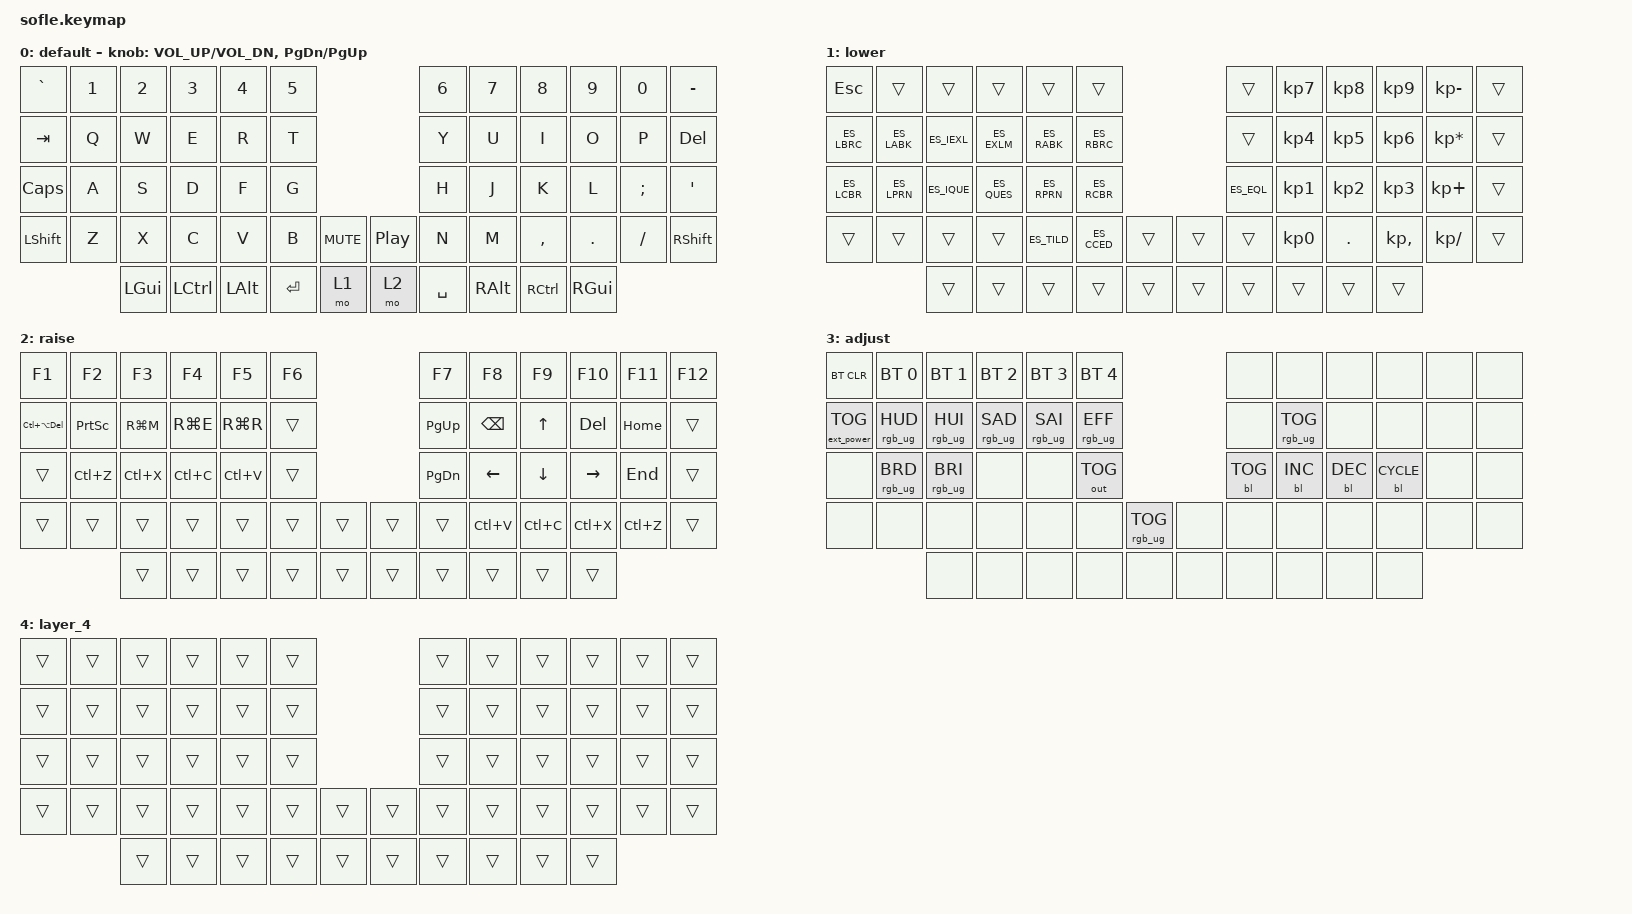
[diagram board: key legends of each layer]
/*
 * Copyright (c) 2020 The ZMK Contributors
 *
 * SPDX-License-Identifier: MIT
 */

#include "keymap_spanish.h"
#include <behaviors.dtsi>
#include <dt-bindings/zmk/backlight.h>
#include <dt-bindings/zmk/bt.h>
#include <dt-bindings/zmk/ext_power.h>
#include <dt-bindings/zmk/keys.h>
#include <dt-bindings/zmk/outputs.h>
#include <dt-bindings/zmk/rgb.h>

#define BASE 0
#define LOWER 1
#define RAISE 2
#define ADJUST 3

#include <dt-bindings/led/led.h>

&pinctrl {
    spi3_default: spi3_default {
        group1 {
            psels = <NRF_PSEL(SPIM_MOSI, 0, 6)>;
        };
    };

    spi3_sleep: spi3_sleep {
        group1 {
            psels = <NRF_PSEL(SPIM_MOSI, 0, 6)>;
            low-power-enable;
        };
    };
};

&spi3 {
  compatible = "nordic,nrf-spim";
  status = "okay";

  pinctrl-0 = <&spi3_default>;
  pinctrl-1 = <&spi3_sleep>;
  pinctrl-names = "default", "sleep";

  led_strip: ws2812@0 {
    compatible = "worldsemi,ws2812-spi";

    /* SPI */
    reg = <0>; /* ignored, but necessary for SPI bindings */
    spi-max-frequency = <4000000>;

    /* WS2812 */
    mosi-pin = <8>;
    chain-length = <30>; /* number of LEDs */
    spi-one-frame = <0x70>;
    spi-zero-frame = <0x40>;
    color-mapping = <LED_COLOR_ID_GREEN
                          LED_COLOR_ID_RED
                          LED_COLOR_ID_BLUE>;
  };
};




/ {
    // Activate ADJUST layer by pressing raise and lower

    conditional_layers {
        compatible = "zmk,conditional-layers";

        adjust_layer {
            if-layers = <1 2>;
            then-layer = <3>;
        };
    };

    combos {
        compatible = "zmk,combos";

        Ejecutar {
            bindings = <&kp RG(R)>;
            key-positions = <28 31 27 32>;
        };

        Explorer {
            bindings = <&kp RG(E)>;
            key-positions = <14 15 16>;
        };

        Imprimir-Pantalla {
            bindings = <&kp RG(LS(S))>;
            key-positions = <34 25 28 31>;
        };

        AltF4 {
            bindings = <&kp LA(F4)>;
            key-positions = <4 50>;
        };
    };

    keymap {
        compatible = "zmk,keymap";

        default_layer {
            display-name = "default";

            // ------------------------------------------------------------------------------------------------------------
            // |   `   |  1  |  2  |  3   |  4   |  5   |                   |  6   |  7    |  8    |  9   |   0   |   -   |
            // |  TAB  |  Q  |  W  |  E   |  R   |  T   |                   |  Y   |  U    |  I    |  O   |   P   |  DEL  |
            // | CAPS  |  A  |  S  |  D   |  F   |  G   |                   |  H   |  J    |  K    |  L   |   ;   |   '   |
            // | SHIFT |  Z  |  X  |  C   |  V   |  B   |  MUTE  |  |       |  N   |  M    |  ,    |  .   |   /   | SHIFT |
            //               | GUI | ALT  | CTRL | LOWER|  ENTER |  | SPACE | RAISE| CTRL  | ALT   | GUI  |

            bindings = <
&kp GRAVE     &kp N1  &kp N2    &kp N3     &kp N4        &kp N5                                     &kp N6     &kp N7    &kp N8     &kp N9    &kp N0    &kp MINUS
&kp TAB       &kp Q   &kp W     &kp E      &kp R         &kp T                                      &kp Y      &kp U     &kp I      &kp O     &kp P     &kp DEL
&kp CAPSLOCK  &kp A   &kp S     &kp D      &kp F         &kp G                                      &kp H      &kp J     &kp K      &kp L     &kp SEMI  &kp SQT
&kp LSHFT     &kp Z   &kp X     &kp C      &kp V         &kp B      &kp C_MUTE    &kp C_PLAY_PAUSE  &kp N      &kp M     &kp COMMA  &kp DOT   &kp FSLH  &kp RSHFT
                      &kp LGUI  &kp LCTRL  &kp LEFT_ALT  &kp ENTER  &mo 1         &mo 2             &kp SPACE  &kp RALT  &kp RCTRL  &kp RGUI
            >;

            sensor-bindings =
                <&inc_dec_kp C_VOLUME_UP C_VOL_DN>,
                <&inc_dec_kp PG_DN PG_UP>;
        };

        lower_layer {
            display-name = "lower";

            // TODO: Some binds are waiting for shifted keycode support.
            // ------------------------------------------------------------------------------------------------------------
            // | ESC   |     |     |      |      |      |                   |      |  7    |  8    |  9   |   -   |       |
            // |   [   |  <  |  ¡  |  !   |  >   |  ]   |                   |      |  4    |  5    |  6   |   *   |       |
            // |   {   |  (  |  ¿  |  ?   |  )   |  }   |                   |  =   |  1    |  2    |  3   |   +   |       |
            // |       |     |     |      |  ~   |  Ç   |        |  |       |      |  0    |  .    |  ,   |   \   |       |
            //               |     |      |      |      |        |  |       |      |       |       |      |

            bindings = <
&kp ESCAPE   &trans       &trans       &trans       &trans       &trans                         &trans      &kp KP_NUMBER_7  &kp KP_NUMBER_8  &kp KP_NUMBER_9  &kp KP_MINUS     &trans
&kp ES_LBRC  &kp ES_LABK  &kp ES_IEXL  &kp ES_EXLM  &kp ES_RABK  &kp ES_RBRC                    &trans      &kp KP_NUMBER_4  &kp KP_NUMBER_5  &kp KP_NUMBER_6  &kp KP_ASTERISK  &trans
&kp ES_LCBR  &kp ES_LPRN  &kp ES_IQUE  &kp ES_QUES  &kp ES_RPRN  &kp ES_RCBR                    &kp ES_EQL  &kp KP_NUMBER_1  &kp KP_NUMBER_2  &kp KP_NUMBER_3  &kp KP_PLUS      &trans
&trans       &trans       &trans       &trans       &kp ES_TILD  &kp ES_CCED  &trans    &trans  &trans      &kp KP_NUMBER_0  &kp DOT          &kp KP_COMMA     &kp KP_SLASH     &trans
                          &trans       &trans       &trans       &trans       &trans    &trans  &trans      &trans           &trans           &trans
            >;
        };

        raise_layer {
            display-name = "raise";

            // ------------------------------------------------------------------------------------------------------------
            // |   F1  |  F2   |   F3    |  F4   |  F5   |  F6   |                |  F7  |  F8  |  F9   | F10  |  F11  |  F12  |
            // | CASUP | PRTSC |  WIN+M  | WIN+E | WIN+R |       |                | PGUP |BCKSPC|   ^   |  DEL |  HOME |       |
            // |       | UNDO  |   CUT   | COPY  | PASTE |       |                | PGDN |   <- |   v   |  ->  |  END  |       |
            // |       |       |         |       |       |       |      |  |      |      | PASTE| COPY  | CUT  |  UNDO |       |
            //                 |         |       |       |       |      |  |      |      |      |       |      |

            bindings = <
&kp F1           &kp F2     &kp F3     &kp F4     &kp F5     &kp F6                    &kp F7     &kp F8         &kp F9    &kp F10    &kp F11   &kp F12
&kp LC(LA(DEL))  &kp PSCRN  &kp RG(M)  &kp RG(E)  &kp RG(R)  &trans                    &kp PG_UP  &kp BACKSPACE  &kp UP    &kp DEL    &kp HOME  &trans
&trans           &kp LC(Z)  &kp LC(X)  &kp LC(C)  &kp LC(V)  &trans                    &kp PG_DN  &kp LEFT       &kp DOWN  &kp RIGHT  &kp END   &trans
&trans           &trans     &trans     &trans     &trans     &trans  &trans    &trans  &trans     &kp LC(V)  &kp LC(C)  &kp LC(X)  &kp LC(Z)    &trans
                            &trans     &trans     &trans     &trans  &trans    &trans  &trans     &trans         &trans    &trans
            >;
        };

        adjust_layer {
            // ----------------------------------------------------------------------------------------------------------------------------
            // | BTCLR  |  BT1    |  BT2    |   BT3   |   BT4   |   BT5   |                  |      |         |       |      |       |       |
            // | EXTPWR | RGB_HUD | RGB_HUI | RGB_SAD | RGB_SAI | RGB_EFF |                  |      | RGB_TOG |       |      |       |       |
            // |        | RGB_BRD | RGB_BRI |         |         |         |                  |      |         |       |      |       |       |
            // |        |         |         |         |         | OUT_TOG | RGB_TOG | |      |      |         |       |      |       |       |
            //                    |         |         |         |         |         | |      |      |         |       |      |

            display-name = "adjust";
            bindings = <
&bt BT_CLR         &bt BT_SEL 0     &bt BT_SEL 1     &bt BT_SEL 2     &bt BT_SEL 3     &bt BT_SEL 4                               &none       &none            &none       &none         &none  &none
&ext_power EP_TOG  &rgb_ug RGB_HUD  &rgb_ug RGB_HUI  &rgb_ug RGB_SAD  &rgb_ug RGB_SAI  &rgb_ug RGB_EFF                            &none       &rgb_ug RGB_TOG  &none       &none         &none  &none
&none              &rgb_ug RGB_BRD  &rgb_ug RGB_BRI  &none            &none            &out OUT_TOG                               &bl BL_TOG  &bl BL_INC       &bl BL_DEC  &bl BL_CYCLE  &none  &none
&none              &none            &none            &none            &none            &none            &rgb_ug RGB_TOG    &none  &none       &none            &none       &none         &none  &none
                                    &none            &none            &none            &none            &none              &none  &none       &none            &none       &none
            >;
        };

        layer_4 {
            bindings = <
&trans  &trans  &trans  &trans  &trans  &trans                    &trans  &trans  &trans  &trans  &trans  &trans
&trans  &trans  &trans  &trans  &trans  &trans                    &trans  &trans  &trans  &trans  &trans  &trans
&trans  &trans  &trans  &trans  &trans  &trans                    &trans  &trans  &trans  &trans  &trans  &trans
&trans  &trans  &trans  &trans  &trans  &trans  &trans    &trans  &trans  &trans  &trans  &trans  &trans  &trans
                &trans  &trans  &trans  &trans  &trans    &trans  &trans  &trans  &trans  &trans
            >;
        };
    };
};
